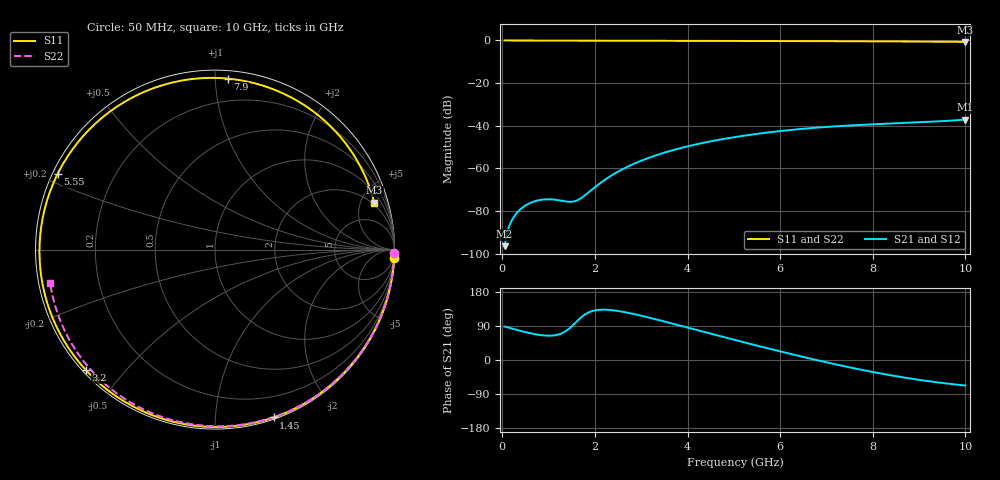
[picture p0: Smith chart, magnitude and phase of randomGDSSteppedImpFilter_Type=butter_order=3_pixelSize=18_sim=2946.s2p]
! freq	dB(S11)	phase(S11)	dB(S12)	phase(S12)
!  dB(S21)	phase(S21)	dB(S22)	phase(S22)
!S-par simulation data
#  GHz  S  DB  R 50
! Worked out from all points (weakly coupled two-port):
!   200 points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, 50 MHz to 10 GHz, reference 50 ohm
!   highest |S21| = -37.11 dB at 10 GHz (marker M1); lowest = -96.5 dB at 50 MHz (marker M2)
!   lowest |S11| = -0.7 dB at 10 GHz (marker M3), VSWR 25.64, Z = 88.7 + j322 ohm
!   |S11| at or under -10 dB: nowhere
!   |S22| runs from -0.6 to 0.0 dB; largest |S21 - S12| = 0
!   S11 on the Smith chart (normalised r, x): 50 MHz: 0, -44; 1.45 GHz: 0.01, -1.41; 3.2 GHz: 0.01, -0.39; 5.55 GHz: 0.01, +0.23; 7.9 GHz: 0.05, +1.07; 10 GHz: 1.77, +6.44
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0.05  -0.00 -2.6  -96.48 88.3  -96.48 88.3  -0.00 -1.0
0.35  -0.03 -18.0  -80.01 78.2  -80.01 78.2  -0.01 -6.7
0.55  -0.04 -28.1  -76.76 72.1  -76.76 72.1  -0.01 -10.5
0.85  -0.05 -42.9  -74.69 65.3  -74.69 65.3  -0.02 -16.2
1.15  -0.07 -57.1  -74.73 65.6  -74.73 65.6  -0.03 -21.8
1.45  -0.08 -70.7  -75.68 83.5  -75.68 83.5  -0.03 -27.4
1.6  -0.09 -77.3  -75.13 101.0  -75.13 101.0  -0.04 -30.2
1.75  -0.10 -83.6  -73.22 117.3  -73.22 117.3  -0.04 -33.0
2.45  -0.12 -111.0  -62.13 130.3  -62.13 130.3  -0.06 -45.8
3.2  -0.14 -136.9  -54.76 110.9  -54.76 110.9  -0.08 -59.1
3.4  -0.15 -143.3  -53.29 104.7  -53.29 104.7  -0.08 -62.6
4.2  -0.18 -167.5  -48.66 79.1  -48.66 79.1  -0.11 -76.3
5.05  -0.21 168.3  -45.21 52.0  -45.21 52.0  -0.14 -90.3
5.55  -0.24 154.3  -43.66 36.4  -43.66 36.4  -0.16 -98.4
6.1  -0.27 138.9  -42.26 19.7  -42.26 19.7  -0.19 -107.1
6.7  -0.31 121.8  -41.05 2.2  -41.05 2.2  -0.23 -116.5
7.3  -0.35 104.1  -40.13 -14.3  -40.13 -14.3  -0.27 -125.8
7.9  -0.40 85.8  -39.43 -29.3  -39.43 -29.3  -0.32 -135.1
8.35  -0.44 71.6  -39.00 -39.5  -39.00 -39.5  -0.37 -142.1
8.8  -0.49 56.9  -38.59 -48.7  -38.59 -48.7  -0.41 -149.2
9.25  -0.55 41.9  -38.14 -56.6  -38.14 -56.6  -0.47 -156.4
10  -0.68 16.5  -37.11 -67.4  -37.11 -67.4  -0.57 -168.7
